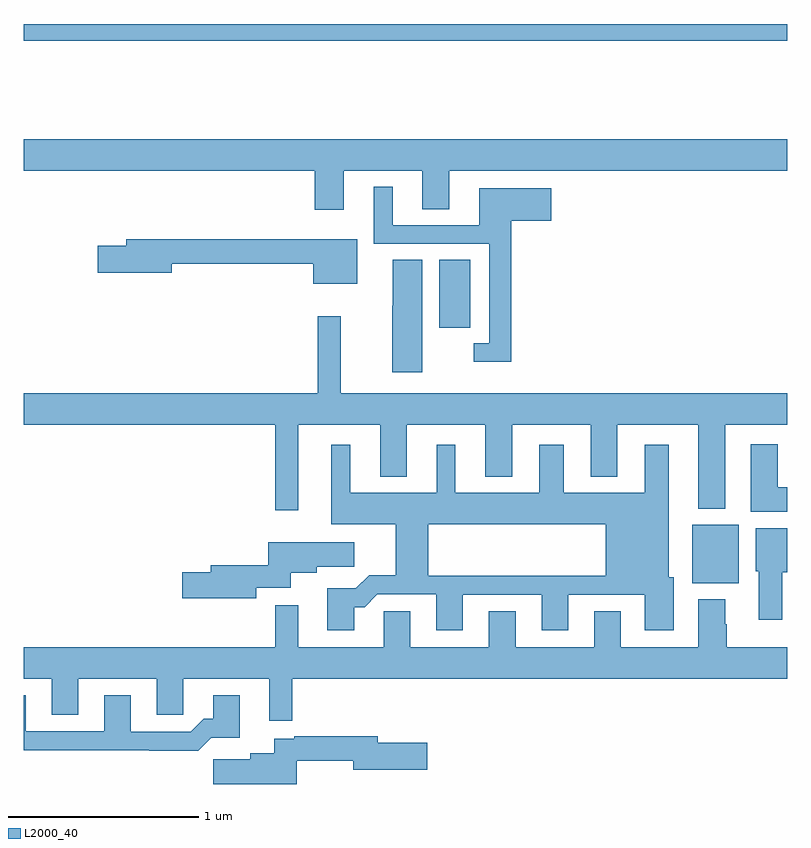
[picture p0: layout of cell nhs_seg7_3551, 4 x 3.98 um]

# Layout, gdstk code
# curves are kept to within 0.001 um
import gdstk
lib = gdstk.Library(unit=1e-6, precision=1e-09)
def R(c, l, rs):  # rectangles x0, y0, x1, y1
    for r in rs: c.add(gdstk.rectangle(r[:2], r[2:], *l))
def P(c, l, *ps):  # polygons
    for p in ps: c.add(gdstk.Polygon(p, *l))
L2000_40 = (2000, 40)

nhs_seg7_3551 = lib.new_cell('nhs_seg7_3551')
R(nhs_seg7_3551, L2000_40, [(340.502,1049.069,340.747,1049.374), (339.176,1050.408,339.34,1050.764), (337,1051.912,341,1052)])
P(nhs_seg7_3551, L2000_40, [(338.677,1051.232),(339.089,1051.232),(339.089,1051.03),(339.229,1051.03),(339.229,1051.232),(341,1051.232),(341,1051.396),(337,1051.396),(337,1051.232),(338.525,1051.232),(338.525,1051.026),(338.677,1051.026)],
  [(339.554,1050.968),(339.763,1050.968),(339.763,1051.138),(339.386,1051.138),(339.386,1050.945),(338.932,1050.945),(338.932,1051.147),(338.834,1051.147),(338.834,1050.849),(339.438,1050.849),(339.438,1050.327),(339.357,1050.327),(339.357,1050.23),(339.554,1050.23)],
  [(338.746,1050.871),(337.535,1050.871),(337.535,1050.837),(337.386,1050.837),(337.386,1050.695),(337.774,1050.695),(337.774,1050.742),(338.516,1050.742),(338.516,1050.638),(338.746,1050.638)],
  [(339.088,1050.764),(338.933,1050.764),(338.933,1050.522),(338.93,1050.522),(338.93,1050.174),(339.088,1050.174)],
  [(338.437,1049.9),(338.867,1049.9),(338.867,1049.627),(339.007,1049.627),(339.007,1049.9),(339.419,1049.9),(339.419,1049.627),(339.559,1049.627),(339.559,1049.9),(339.971,1049.9),(339.971,1049.627),(340.111,1049.627),(340.111,1049.9),(340.535,1049.9),(340.535,1049.459),(340.675,1049.459),(340.675,1049.9),(341,1049.9),(341,1050.064),(338.66,1050.064),(338.66,1050.469),(338.539,1050.469),(338.539,1050.064),(337,1050.064),(337,1049.9),(338.316,1049.9),(338.316,1049.451),(338.437,1049.451)],
  [(341,1049.572),(340.951,1049.572),(340.951,1049.797),(340.811,1049.797),(340.811,1049.444),(341,1049.444)],
  [(338.591,1049.041),(338.591,1048.821),(338.731,1048.821),(338.731,1048.943),(338.786,1048.943),(338.853,1049.01),(339.161,1049.01),(339.161,1048.821),(339.301,1048.821),(339.301,1049.007),(339.713,1049.007),(339.713,1048.821),(339.853,1048.821),(339.853,1049.007),(340.253,1049.007),(340.253,1048.821),(340.405,1048.821),(340.405,1049.1),(340.381,1049.1),(340.381,1049.794),(340.253,1049.794),(340.253,1049.542),(339.829,1049.542),(339.829,1049.794),(339.701,1049.794),(339.701,1049.542),(339.262,1049.542),(339.262,1049.794),(339.164,1049.794),(339.164,1049.542),(338.71,1049.542),(338.71,1049.794),(338.612,1049.794),(338.612,1049.378),(338.948,1049.378),(338.948,1049.111),(338.81,1049.111),(338.807,1049.108),(339.119,1049.108),(339.119,1049.378),(340.049,1049.378),(340.049,1049.108),(338.807,1049.108),(338.74,1049.041)],
  [(340.975,1049.126),(341,1049.126),(341,1049.356),(340.835,1049.356),(340.835,1049.13),(340.853,1049.13),(340.853,1048.878),(340.975,1048.878)],
  [(338.218,1049.046),(338.399,1049.046),(338.399,1049.123),(338.536,1049.123),(338.536,1049.155),(338.731,1049.155),(338.731,1049.284),(338.281,1049.284),(338.281,1049.162),(337.979,1049.162),(337.979,1049.126),(337.83,1049.126),(337.83,1048.991),(338.218,1048.991)],
  [(338.406,1048.568),(341,1048.568),(341,1048.732),(340.683,1048.732),(340.683,1048.853),(340.675,1048.853),(340.675,1048.984),(340.535,1048.984),(340.535,1048.732),(340.129,1048.732),(340.129,1048.922),(339.989,1048.922),(339.989,1048.732),(339.577,1048.732),(339.577,1048.922),(339.437,1048.922),(339.437,1048.732),(339.025,1048.732),(339.025,1048.922),(338.886,1048.922),(338.886,1048.732),(338.437,1048.732),(338.437,1048.954),(338.316,1048.954),(338.316,1048.732),(337,1048.732),(337,1048.568),(337.145,1048.568),(337.145,1048.378),(337.285,1048.378),(337.285,1048.568),(337.697,1048.568),(337.697,1048.378),(337.836,1048.378),(337.836,1048.568),(338.285,1048.568),(338.285,1048.347),(338.406,1048.347)],
  [(337.982,1048.259),(338.131,1048.259),(338.131,1048.48),(337.991,1048.48),(337.991,1048.357),(337.942,1048.357),(337.875,1048.29),(337.561,1048.29),(337.561,1048.48),(337.421,1048.48),(337.421,1048.293),(337.009,1048.293),(337.009,1048.48),(337,1048.48),(337,1048.192),(337.657,1048.192),(337.657,1048.19),(337.913,1048.19)],
  [(338.43,1048.138),(338.726,1048.138),(338.726,1048.091),(339.115,1048.091),(339.115,1048.233),(338.854,1048.233),(338.854,1048.267),(338.518,1048.267),(338.518,1048.266),(338.416,1048.266),(338.416,1048.254),(338.312,1048.254),(338.312,1048.177),(338.186,1048.177),(338.186,1048.145),(337.992,1048.145),(337.992,1048.016),(338.43,1048.016)])

lib.write_gds('nhs_seg7_3551.gds')
